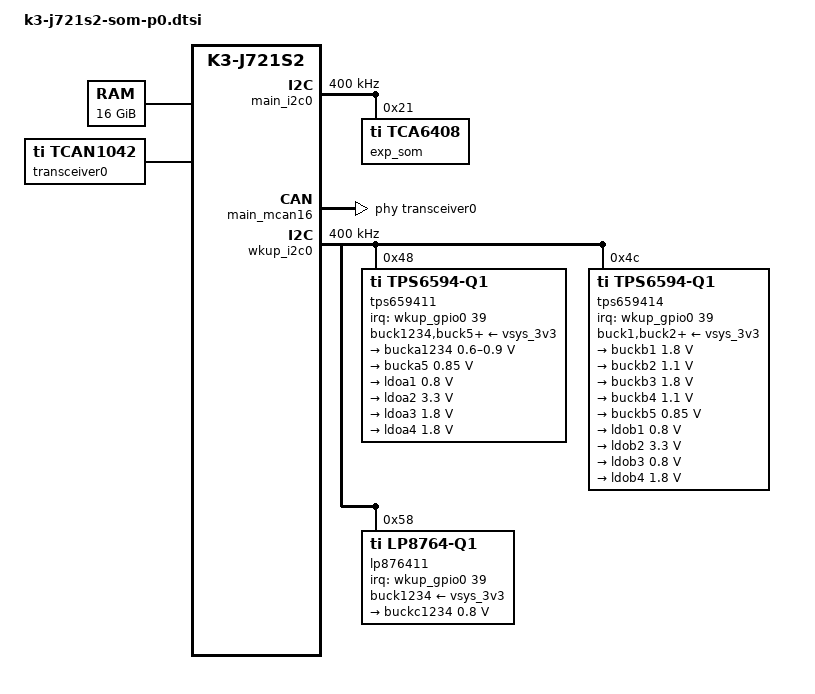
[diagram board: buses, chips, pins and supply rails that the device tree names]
// SPDX-License-Identifier: GPL-2.0
/*
 * SoM: https://www.ti.com/lit/zip/sprr439
 *
 * Copyright (C) 2021 Texas Instruments Incorporated - https://www.ti.com/
 */

/dts-v1/;

#include "k3-j721s2.dtsi"
#include <dt-bindings/gpio/gpio.h>

/ {
	memory@80000000 {
		device_type = "memory";
		/* 16 GB RAM */
		reg = <0x00 0x80000000 0x00 0x80000000>,
		      <0x08 0x80000000 0x03 0x80000000>;
	};

	/* Reserving memory regions still pending */
	reserved_memory: reserved-memory {
		#address-cells = <2>;
		#size-cells = <2>;
		ranges;

		secure_ddr: optee@9e800000 {
			reg = <0x00 0x9e800000 0x00 0x01800000>;
			alignment = <0x1000>;
			no-map;
		};
	};

	transceiver0: can-phy0 {
		/* standby pin has been grounded by default */
		compatible = "ti,tcan1042";
		#phy-cells = <0>;
		max-bitrate = <5000000>;
	};
};

&main_pmx0 {
	main_i2c0_pins_default: main-i2c0-pins-default {
		pinctrl-single,pins = <
			J721S2_IOPAD(0x0e0, PIN_INPUT_PULLUP, 0) /* (AH25) I2C0_SCL */
			J721S2_IOPAD(0x0e4, PIN_INPUT_PULLUP, 0) /* (AE24) I2C0_SDA */
		>;
	};

	main_mcan16_pins_default: main-mcan16-pins-default {
		pinctrl-single,pins = <
			J721S2_IOPAD(0x028, PIN_INPUT, 0) /* (AB24) MCAN16_RX */
			J721S2_IOPAD(0x024, PIN_OUTPUT, 0) /* (Y28) MCAN16_TX */
		>;
	};
};

&main_i2c0 {
	status = "okay";
	pinctrl-names = "default";
	pinctrl-0 = <&main_i2c0_pins_default>;
	clock-frequency = <400000>;

	exp_som: gpio@21 {
		compatible = "ti,tca6408";
		reg = <0x21>;
		gpio-controller;
		#gpio-cells = <2>;
		gpio-line-names = "USB2.0_MUX_SEL", "CANUART_MUX1_SEL0",
				  "CANUART_MUX2_SEL0", "CANUART_MUX_SEL1",
				  "GPIO_RGMII1_RST", "GPIO_eDP_ENABLE",
				   "GPIO_LIN_EN", "CAN_STB";
	};
};

&main_mcan16 {
	status = "okay";
	pinctrl-0 = <&main_mcan16_pins_default>;
	pinctrl-names = "default";
	phys = <&transceiver0>;
};

&wkup_pmx0 {
	pmic_irq_pins_default: pmic-irq-pins-default {
		pinctrl-single,pins = <
			/* (C21) MCU_OSPI1_CSn1.WKUP_GPIO0_39 */
			J721S2_WKUP_IOPAD(0x060, PIN_INPUT, 7)
		>;
	};

	wkup_i2c0_pins_default: wkup_i2c0_pins_default {
		pinctrl-single,pins = <
			J721S2_WKUP_IOPAD(0x100, PIN_INPUT, 0) /* (H24) WKUP_I2C0_SCL */
			J721S2_WKUP_IOPAD(0x104, PIN_INPUT, 0) /* (H27) WKUP_I2C0_SDA */
		>;
	};
};

&wkup_i2c0 {
	status = "okay";
	pinctrl-names = "default";
	pinctrl-0 = <&wkup_i2c0_pins_default>;
	clock-frequency = <400000>;

	tps659411: pmic@48 {
		compatible = "ti,tps6594-q1";
		reg = <0x48>;
		ti,primary-pmic;
		system-power-controller;

		pinctrl-names = "default";
		pinctrl-0 = <&pmic_irq_pins_default>;
		interrupt-parent = <&wkup_gpio0>;
		interrupts = <39 IRQ_TYPE_EDGE_FALLING>;

		gpio-controller;
		#gpio-cells = <2>;

		buck1234-supply = <&vsys_3v3>;
		buck5-supply = <&vsys_3v3>;
		ldo1-supply = <&vsys_3v3>;
		ldo2-supply = <&vsys_3v3>;
		ldo3-supply = <&vsys_3v3>;
		ldo4-supply = <&vsys_3v3>;

		regulators {
			bucka1234: buck1234 {
				regulator-name = "vdd_cpu_avs";
				regulator-min-microvolt = <600000>;
				regulator-max-microvolt = <900000>;
				regulator-boot-on;
				regulator-always-on;
			};

			bucka5: buck5 {
				regulator-name = "vdd_mcu_0v85";
				regulator-min-microvolt = <850000>;
				regulator-max-microvolt = <850000>;
				regulator-boot-on;
				regulator-always-on;
			};

			ldoa1: ldo1 {
				regulator-name = "vdd_mcuwk_0v8";
				regulator-min-microvolt = <800000>;
				regulator-max-microvolt = <800000>;
				regulator-boot-on;
				regulator-always-on;
			};

			ldoa2: ldo2 {
				regulator-name = "vdd_mcu_gpioret_3v3";
				regulator-min-microvolt = <3300000>;
				regulator-max-microvolt = <3300000>;
				regulator-boot-on;
				regulator-always-on;
			};

			ldoa3: ldo3 {
				regulator-name = "vdd_mcuio_1v8";
				regulator-min-microvolt = <1800000>;
				regulator-max-microvolt = <1800000>;
				regulator-boot-on;
				regulator-always-on;
			};

			ldoa4: ldo4 {
				regulator-name = "vda_mcu_1v8";
				regulator-min-microvolt = <1800000>;
				regulator-max-microvolt = <1800000>;
				regulator-boot-on;
				regulator-always-on;
			};
		};
	};

	tps659414: pmic@4c {
		compatible = "ti,tps6594-q1";
		reg = <0x4c>;
		system-power-controller;
		interrupt-parent = <&wkup_gpio0>;
		interrupts = <39 IRQ_TYPE_EDGE_FALLING>;

		gpio-controller;
		#gpio-cells = <2>;

		buck1-supply = <&vsys_3v3>;
		buck2-supply = <&vsys_3v3>;
		buck3-supply = <&vsys_3v3>;
		buck4-supply = <&vsys_3v3>;
		buck5-supply = <&vsys_3v3>;
		ldo1-supply = <&vsys_3v3>;
		ldo2-supply = <&vsys_3v3>;
		ldo3-supply = <&vsys_3v3>;
		ldo4-supply = <&vsys_3v3>;

		regulators {
			buckb1: buck1 {
				regulator-name = "vdd_io_1v8_reg";
				regulator-min-microvolt = <1800000>;
				regulator-max-microvolt = <1800000>;
				regulator-always-on;
				regulator-boot-on;
			};

			buckb2: buck2 {
				regulator-name = "vdd_fpd_1v1";
				regulator-min-microvolt = <1100000>;
				regulator-max-microvolt = <1100000>;
				regulator-boot-on;
				regulator-always-on;
			};

			buckb3: buck3 {
				regulator-name = "vdd_phy_1v8";
				regulator-min-microvolt = <1800000>;
				regulator-max-microvolt = <1800000>;
				regulator-boot-on;
				regulator-always-on;
			};

			buckb4: buck4 {
				regulator-name = "vdd_ddr_1v1";
				regulator-min-microvolt = <1100000>;
				regulator-max-microvolt = <1100000>;
				regulator-boot-on;
				regulator-always-on;
			};

			buckb5: buck5 {
				regulator-name = "vdd_ram_0v85";
				regulator-min-microvolt = <850000>;
				regulator-max-microvolt = <850000>;
				regulator-boot-on;
				regulator-always-on;
			};

			ldob1: ldo1 {
				regulator-name = "vdd_wk_0v8";
				regulator-min-microvolt = <800000>;
				regulator-max-microvolt = <800000>;
				regulator-boot-on;
				regulator-always-on;
			};

			ldob2: ldo2 {
				regulator-name = "vdd_gpioret_3v3";
				regulator-min-microvolt = <3300000>;
				regulator-max-microvolt = <3300000>;
				regulator-boot-on;
				regulator-always-on;
			};

			ldob3: ldo3 {
				regulator-name = "vda_dll_0v8";
				regulator-min-microvolt = <800000>;
				regulator-max-microvolt = <800000>;
				regulator-boot-on;
				regulator-always-on;
			};

			ldob4: ldo4 {
				regulator-name = "vda_pll_1v8";
				regulator-min-microvolt = <1800000>;
				regulator-max-microvolt = <1800000>;
				regulator-boot-on;
				regulator-always-on;
			};
		};
	};

	lp876411: pmic@58 {
		compatible = "ti,lp8764-q1";
		reg = <0x58>;
		system-power-controller;
		interrupt-parent = <&wkup_gpio0>;
		interrupts = <39 IRQ_TYPE_EDGE_FALLING>;

		gpio-controller;
		#gpio-cells = <2>;

		buck1234-supply = <&vsys_3v3>;

		regulators {
			buckc1234: buck1234 {
				regulator-name = "vdd_core_0v8";
				regulator-min-microvolt = <800000>;
				regulator-max-microvolt = <800000>;
				regulator-boot-on;
				regulator-always-on;
			};
		};
	};
};
